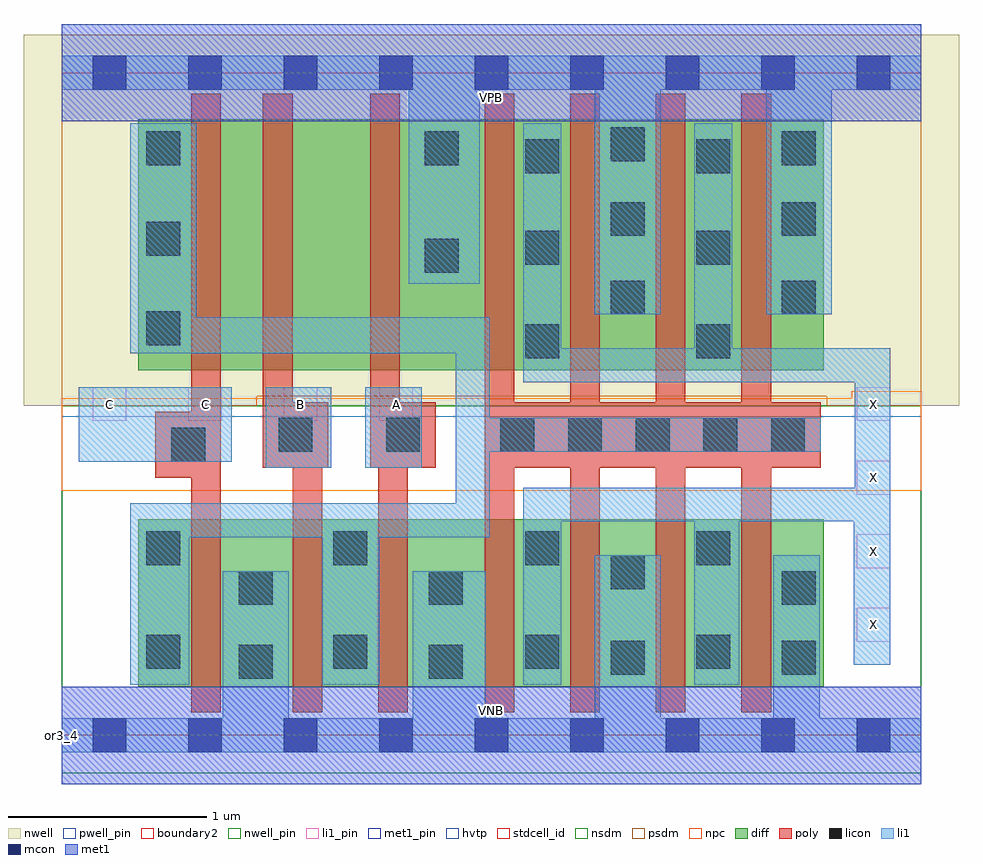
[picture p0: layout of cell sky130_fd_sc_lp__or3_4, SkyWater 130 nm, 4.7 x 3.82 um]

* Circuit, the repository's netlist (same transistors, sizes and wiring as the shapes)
* Copyright 2020 The SkyWater PDK Authors
*
* Licensed under the Apache License, Version 2.0 (the "License");
* you may not use this file except in compliance with the License.
* You may obtain a copy of the License at
*
*     https://www.apache.org/licenses/LICENSE-2.0
*
* Unless required by applicable law or agreed to in writing, software
* distributed under the License is distributed on an "AS IS" BASIS,
* WITHOUT WARRANTIES OR CONDITIONS OF ANY KIND, either express or implied.
* See the License for the specific language governing permissions and
* limitations under the License.
*
* SPDX-License-Identifier: Apache-2.0

.SUBCKT sky130_fd_sc_lp__or3_4 A B C VGND VNB VPB VPWR X
*.PININFO A:I B:I C:I VGND:I VNB:I VPB:I VPWR:I X:O
MMP0 VPWR A sndPA VPB sky130_fd_pr__pfet_01v8_hvt m=1 w=1.26U l=0.15U mult=1 sa=0.265
+ sb=0.265 sd=0.28 area=0.063 perim=1.14
MMP1 sndPA B sndPB VPB sky130_fd_pr__pfet_01v8_hvt m=1 w=1.26U l=0.15U mult=1 sa=0.265
+ sb=0.265 sd=0.28 area=0.063 perim=1.14
MMP2 sndPB C y VPB sky130_fd_pr__pfet_01v8_hvt m=1 w=1.26U l=0.15U mult=1 sa=0.265
+ sb=0.265 sd=0.28 area=0.063 perim=1.14
MMIP3 X y VPWR VPB sky130_fd_pr__pfet_01v8_hvt m=4 w=1.26U l=0.15U mult=1 sa=0.265
+ sb=0.265 sd=0.28 area=0.063 perim=1.14
MMN0 y A VGND VNB sky130_fd_pr__nfet_01v8 m=1 w=0.84U l=0.15U mult=1 sa=0.265 sb=0.265
+ sd=0.28 area=0.063 perim=1.14
MMN1 y B VGND VNB sky130_fd_pr__nfet_01v8 m=1 w=0.84U l=0.15U mult=1 sa=0.265 sb=0.265
+ sd=0.28 area=0.063 perim=1.14
MMN2 y C VGND VNB sky130_fd_pr__nfet_01v8 m=1 w=0.84U l=0.15U mult=1 sa=0.265 sb=0.265
+ sd=0.28 area=0.063 perim=1.14
MMIN3 X y VGND VNB sky130_fd_pr__nfet_01v8 m=4 w=0.84U l=0.15U mult=1 sa=0.265
+ sb=0.265 sd=0.28 area=0.063 perim=1.14
.ENDS sky130_fd_sc_lp__or3_4

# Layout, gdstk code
import gdstk
lib = gdstk.Library(unit=1e-6, precision=1e-09)
def R(c, l, rs):  # rectangles x0, y0, x1, y1
    for r in rs: c.add(gdstk.rectangle(r[:2], r[2:], *l))
def A(c, l, x, y, w, h, nx, ny, dx, dy):  # array of equal rectangles
    R(c, l, [(x+i*dx, y+j*dy, x+i*dx+w, y+j*dy+h) for i in range(nx) for j in range(ny)])
def P(c, l, *ps):  # polygons
    for p in ps: c.add(gdstk.Polygon(p, *l))
nwell_pin = (64, 16)
nwell = (64, 20)
diff = (65, 20)
poly = (66, 20)
licon = (66, 44)
li1_pin = (67, 16)
li1 = (67, 20)
mcon = (67, 44)
met1_pin = (68, 16)
met1 = (68, 20)
hvtp = (78, 44)
stdcell_id = (81, 4)
nsdm = (93, 44)
psdm = (94, 20)
npc = (95, 20)
pwell_pin = (122, 16)
boundary2 = (236, 0)

sky130_fd_sc_lp__or3_4 = lib.new_cell('sky130_fd_sc_lp__or3_4')
R(sky130_fd_sc_lp__or3_4, nwell_pin, [(0,3.085,4.32,3.33)])
R(sky130_fd_sc_lp__or3_4, nwell, [(-0.19,1.655,4.51,3.52)])
R(sky130_fd_sc_lp__or3_4, diff, [(0.385,0.245,3.83,1.085), (0.385,1.835,3.83,3.095)])
P(sky130_fd_sc_lp__or3_4, poly, [(0.8,3.225),(0.65,3.225),(0.65,1.625),(0.47,1.625),(0.47,1.295),(0.65,1.295),(0.65,0.115),(0.8,0.115)],
  [(1.34,1.675),(1.16,1.675),(1.16,3.225),(1.01,3.225),(1.01,1.345),(1.16,1.345),(1.16,0.115),(1.31,0.115),(1.31,1.345),(1.34,1.345)],
  [(1.88,1.675),(1.7,1.675),(1.7,3.225),(1.55,3.225),(1.55,1.345),(1.59,1.345),(1.59,0.115),(1.74,0.115),(1.74,1.345),(1.88,1.345)],
  [(3.815,1.675),(3.565,1.675),(3.565,3.225),(3.415,3.225),(3.415,1.675),(3.135,1.675),(3.135,3.225),(2.985,3.225),(2.985,1.675),(2.705,1.675),(2.705,3.225),(2.555,3.225),(2.555,1.675),(2.275,1.675),(2.275,3.225),(2.125,3.225),(2.125,0.115),(2.275,0.115),(2.275,1.345),(2.555,1.345),(2.555,0.115),(2.705,0.115),(2.705,1.345),(2.985,1.345),(2.985,0.115),(3.135,0.115),(3.135,1.345),(3.415,1.345),(3.415,0.115),(3.565,0.115),(3.565,1.345),(3.815,1.345)])
A(sky130_fd_sc_lp__or3_4, licon, 2.205, 1.425, 0.17, 0.17, 5, 1, 0.34, 0)
R(sky130_fd_sc_lp__or3_4, licon, [(0.89,0.285,1.06,0.455), (1.845,0.285,2.015,0.455), (2.76,0.305,2.93,0.475), (3.62,0.305,3.79,0.475), (0.425,0.335,0.595,0.505), (1.365,0.335,1.535,0.505), (2.33,0.335,2.5,0.505), (3.19,0.335,3.36,0.505), (0.89,0.655,1.06,0.825), (1.845,0.655,2.015,0.825), (3.62,0.655,3.79,0.825), (2.76,0.735,2.93,0.905), (0.425,0.855,0.595,1.025), (1.365,0.855,1.535,1.025), (2.33,0.855,2.5,1.025), (3.19,0.855,3.36,1.025), (0.55,1.375,0.72,1.545), (1.09,1.425,1.26,1.595), (1.63,1.425,1.8,1.595), (2.33,1.895,2.5,2.065), (3.19,1.895,3.36,2.065), (0.425,1.96,0.595,2.13), (2.76,2.115,2.93,2.285), (3.62,2.115,3.79,2.285), (1.825,2.325,1.995,2.495), (2.33,2.365,2.5,2.535), (3.19,2.365,3.36,2.535), (0.425,2.41,0.595,2.58), (2.76,2.51,2.93,2.68), (3.62,2.51,3.79,2.68), (2.33,2.825,2.5,2.995), (3.19,2.825,3.36,2.995), (0.425,2.865,0.595,3.035), (1.825,2.865,1.995,3.035), (3.62,2.865,3.79,3.035), (2.76,2.885,2.93,3.055)])
A(sky130_fd_sc_lp__or3_4, li1_pin, 3.995, 0.47, 0.17, 0.17, 1, 4, 0, 0.37)
A(sky130_fd_sc_lp__or3_4, li1_pin, 0.155, 1.58, 0.17, 0.17, 4, 1, 0.48, 0)
R(sky130_fd_sc_lp__or3_4, li1, [(1.025,1.345,1.355,1.75), (1.525,1.345,1.81,1.75), (0.085,1.375,0.855,1.75)])
P(sky130_fd_sc_lp__or3_4, li1, [(2.68,2.115),(2.68,3.245),(2.1,3.245),(2.1,2.27),(1.745,2.27),(1.745,3.245),(0,3.245),(0,3.415),(4.32,3.415),(4.32,3.245),(3.87,3.245),(3.87,2.115),(3.54,2.115),(3.54,3.245),(3.01,3.245),(3.01,2.115)],
  [(2.68,0.085),(2.68,0.905),(3.01,0.905),(3.01,0.085),(3.575,0.085),(3.575,0.905),(3.81,0.905),(3.81,0.085),(4.32,0.085),(4.32,-0.085),(0,-0.085),(0,0.085),(0.81,0.085),(0.81,0.825),(1.14,0.825),(1.14,0.085),(1.765,0.085),(1.765,0.825),(2.13,0.825),(2.13,0.085)],
  [(1.98,1.165),(1.98,1.92),(0.345,1.92),(0.345,3.075),(0.675,3.075),(0.675,2.1),(2.15,2.1),(2.15,1.595),(3.815,1.595),(3.815,1.425),(2.15,1.425),(2.15,0.995),(1.595,0.995),(1.595,0.255),(1.31,0.255),(1.31,0.995),(0.64,0.995),(0.64,0.255),(0.345,0.255),(0.345,1.165)],
  [(2.51,1.945),(3.18,1.945),(3.18,3.075),(3.37,3.075),(3.37,1.945),(4.165,1.945),(4.165,0.355),(3.98,0.355),(3.98,1.075),(3.405,1.075),(3.405,0.255),(3.18,0.255),(3.18,1.075),(2.51,1.075),(2.51,0.255),(2.32,0.255),(2.32,1.245),(3.985,1.245),(3.985,1.775),(2.32,1.775),(2.32,3.075),(2.51,3.075)])
A(sky130_fd_sc_lp__or3_4, mcon, 0.155, -0.085, 0.17, 0.17, 9, 2, 0.48, 3.33)
R(sky130_fd_sc_lp__or3_4, met1_pin, [(0,0,4.32,0.245), (0,3.085,4.32,3.33)])
R(sky130_fd_sc_lp__or3_4, met1, [(0,-0.245,4.32,0.245), (0,3.085,4.32,3.575)])
R(sky130_fd_sc_lp__or3_4, hvtp, [(0,1.6,4.32,3.33)])
R(sky130_fd_sc_lp__or3_4, stdcell_id, [(0,0,4.32,3.33)])
R(sky130_fd_sc_lp__or3_4, nsdm, [(0,-0.19,4.32,1.655)])
P(sky130_fd_sc_lp__or3_4, psdm, [(4.32,3.52),(0,3.52),(0,1.655),(0.98,1.655),(0.98,1.705),(3.845,1.705),(3.845,1.655),(4.32,1.655)])
P(sky130_fd_sc_lp__or3_4, npc, [(4.32,1.73),(3.97,1.73),(3.97,1.695),(0,1.695),(0,1.23),(4.32,1.23)])
R(sky130_fd_sc_lp__or3_4, pwell_pin, [(0,0,4.32,0.245)])
R(sky130_fd_sc_lp__or3_4, boundary2, [(0,0,4.32,3.33)])
sky130_fd_sc_lp__or3_4.add(gdstk.Label('VNB', (2.16,0.123), layer=64, texttype=59))
sky130_fd_sc_lp__or3_4.add(gdstk.Label('VPB', (2.16,3.208), layer=64, texttype=5))
sky130_fd_sc_lp__or3_4.add(gdstk.Label('or3_4', (0,0), layer=83, texttype=44))
sky130_fd_sc_lp__or3_4.add(gdstk.Label('VPWR', (2.16,3.208), layer=68, texttype=5))
sky130_fd_sc_lp__or3_4.add(gdstk.Label('VGND', (2.16,0.123), layer=68, texttype=5))
sky130_fd_sc_lp__or3_4.add(gdstk.Label('A', (1.68,1.665), layer=67, texttype=5))
sky130_fd_sc_lp__or3_4.add(gdstk.Label('B', (1.2,1.665), layer=67, texttype=5))
sky130_fd_sc_lp__or3_4.add(gdstk.Label('C', (0.24,1.665), layer=67, texttype=5))
sky130_fd_sc_lp__or3_4.add(gdstk.Label('C', (0.72,1.665), layer=67, texttype=5))
sky130_fd_sc_lp__or3_4.add(gdstk.Label('X', (4.08,0.555), layer=67, texttype=5))
sky130_fd_sc_lp__or3_4.add(gdstk.Label('X', (4.08,0.925), layer=67, texttype=5))
sky130_fd_sc_lp__or3_4.add(gdstk.Label('X', (4.08,1.295), layer=67, texttype=5))
sky130_fd_sc_lp__or3_4.add(gdstk.Label('X', (4.08,1.665), layer=67, texttype=5))

lib.write_gds('sky130_fd_sc_lp__or3_4.gds')
